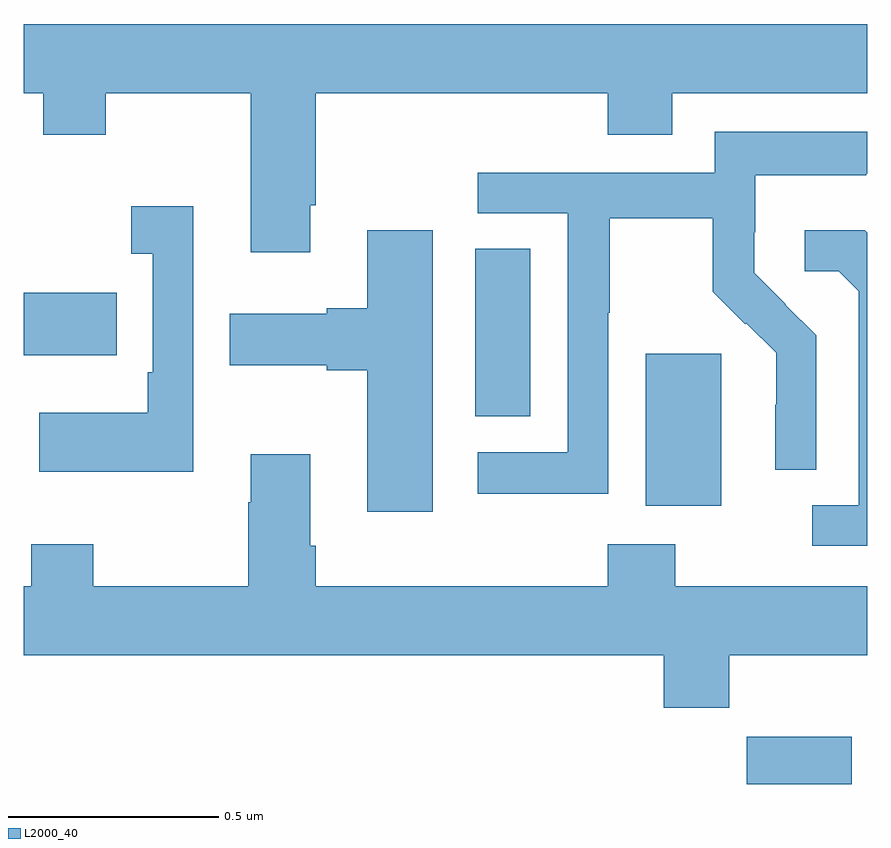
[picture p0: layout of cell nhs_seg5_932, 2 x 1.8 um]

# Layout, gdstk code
import gdstk
lib = gdstk.Library(unit=1e-6, precision=1e-09)
def R(c, l, rs):  # rectangles x0, y0, x1, y1
    for r in rs: c.add(gdstk.rectangle(r[:2], r[2:], *l))
def P(c, l, *ps):  # polygons
    for p in ps: c.add(gdstk.Polygon(p, *l))
L2000_40 = (2000, 40)

nhs_seg5_932 = lib.new_cell('nhs_seg5_932')
R(nhs_seg5_932, L2000_40, [(124.714,845.799,124.963,845.911), (124.475,846.458,124.654,846.819), (124.07,846.67,124.201,847.067), (123,846.815,123.221,846.963)])
P(nhs_seg5_932, L2000_40, [(123.679,847.171),(123.692,847.171),(123.692,847.436),(124.385,847.436),(124.385,847.337),(124.537,847.337),(124.537,847.436),(125,847.436),(125,847.6),(123,847.6),(123,847.436),(123.047,847.436),(123.047,847.337),(123.195,847.337),(123.195,847.436),(123.539,847.436),(123.539,847.059),(123.679,847.059)],
  [(124.386,846.916),(124.389,846.916),(124.389,847.14),(124.633,847.14),(124.633,846.965),(124.71,846.888),(124.713,846.891),(124.784,846.821),(124.784,846.698),(124.782,846.698),(124.782,846.544),(124.878,846.544),(124.878,846.862),(124.805,846.935),(124.806,846.936),(124.732,847.01),(124.732,847.107),(124.734,847.107),(124.734,847.241),(124.997,847.241),(124.997,847.245),(125,847.245),(125,847.345),(124.638,847.345),(124.638,847.248),(124.077,847.248),(124.077,847.152),(124.29,847.152),(124.29,846.585),(124.077,846.585),(124.077,846.487),(124.386,846.487)],
  [(123.402,847.168),(123.255,847.168),(123.255,847.055),(123.306,847.055),(123.306,846.775),(123.294,846.775),(123.294,846.679),(123.037,846.679),(123.037,846.539),(123.402,846.539)],
  [(125,847.105),(124.994,847.111),(124.851,847.111),(124.851,847.014),(124.932,847.014),(124.979,846.967),(124.979,846.459),(124.869,846.459),(124.869,846.363),(125,846.363)],
  [(123.97,847.111),(123.815,847.111),(123.815,846.926),(123.719,846.926),(123.719,846.913),(123.489,846.913),(123.489,846.791),(123.719,846.791),(123.719,846.779),(123.815,846.779),(123.815,846.444),(123.97,846.444)],
  [(124.673,846.104),(125,846.104),(125,846.268),(124.545,846.268),(124.545,846.367),(124.385,846.367),(124.385,846.268),(123.692,846.268),(123.692,846.364),(123.679,846.364),(123.679,846.58),(123.539,846.58),(123.539,846.467),(123.532,846.467),(123.532,846.268),(123.165,846.268),(123.165,846.367),(123.018,846.367),(123.018,846.268),(123,846.268),(123,846.104),(124.517,846.104),(124.517,845.98),(124.673,845.98)])

lib.write_gds('nhs_seg5_932.gds')
